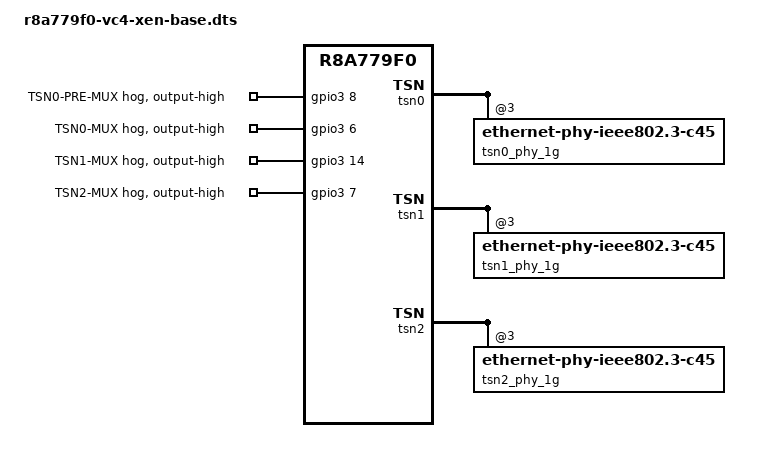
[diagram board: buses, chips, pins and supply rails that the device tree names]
#include "r8a779f0-vc4.dts"

/* inlined r8a779f0-vc4-tsn0-phy-1g.dtso */

&gpio3 {
	tsn0-pre-mux {
		gpio-hog;
		gpios = <8 GPIO_ACTIVE_HIGH>;
		output-high;
		line-name = "TSN0-PRE-MUX";
	};

	tsn0-mux {
		gpio-hog;
		gpios = <6 GPIO_ACTIVE_HIGH>;
		output-high;
		line-name = "TSN0-MUX";
	};
};

&tsn0 {
	phy-mode = "sgmii";
	phy-handle = <&tsn0_phy_1g>;

	#address-cells = <1>;
	#size-cells = <0>;

	tsn0_phy_1g: ethernet-phy@3 {
		reg = <3>;
		compatible = "ethernet-phy-ieee802.3-c45";
		status = "okay";
	};
};

/* inlined r8a779f0-vc4-tsn0-phy-1g.dtso */

&gpio3 {
	tsn1-mux {
		gpio-hog;
		gpios = <14 GPIO_ACTIVE_HIGH>;
		output-high;
		line-name = "TSN1-MUX";
	};
};

&tsn1 {
	phy-mode = "sgmii";
	phy-handle = <&tsn1_phy_1g>;

	#address-cells = <1>;
	#size-cells = <0>;

	tsn1_phy_1g: ethernet-phy@3 {
		reg = <3>;
		compatible = "ethernet-phy-ieee802.3-c45";
		status = "okay";
	};
};

/* inlined r8a779f0-vc4-tsn2-phy-1g.dtso */

&gpio3 {
	tsn2-mux {
		gpio-hog;
		gpios = <7 GPIO_ACTIVE_HIGH>;
		output-high;
		line-name = "TSN2-MUX";
	};
};

&tsn2 {
	phy-mode = "sgmii";
	phy-handle = <&tsn2_phy_1g>;

	#address-cells = <1>;
	#size-cells = <0>;

	tsn2_phy_1g: ethernet-phy@3 {
		reg = <3>;
		compatible = "ethernet-phy-ieee802.3-c45";
		status = "okay";
	};
};
